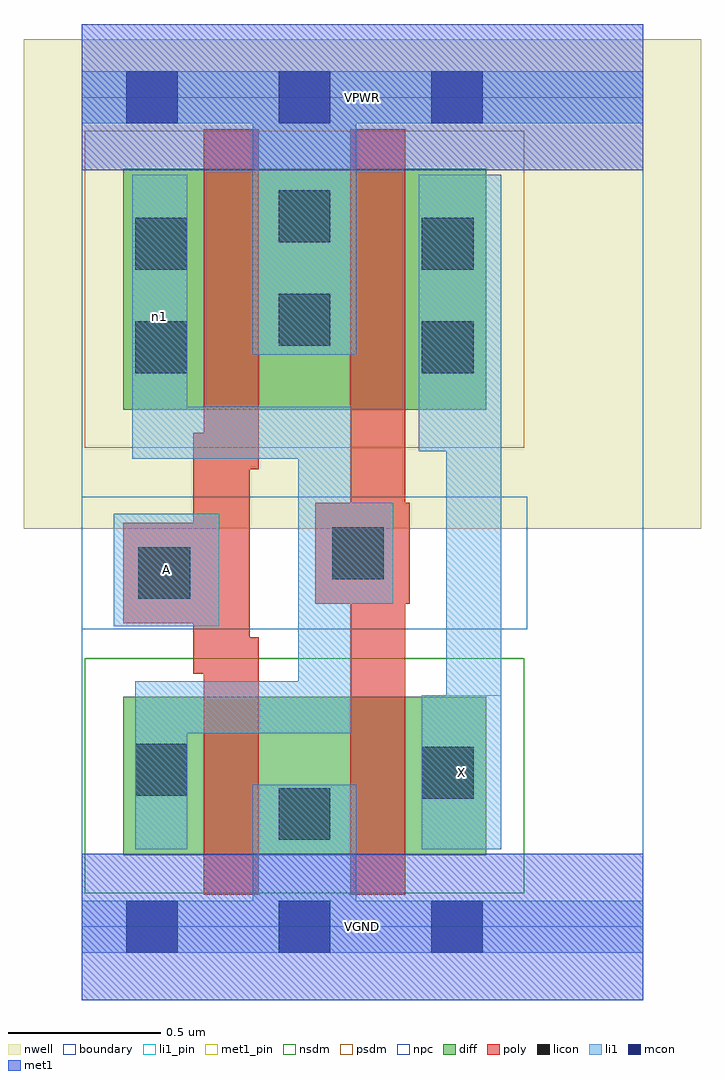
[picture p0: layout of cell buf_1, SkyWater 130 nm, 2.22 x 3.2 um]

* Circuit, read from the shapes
.subckt buf_1 A VGND VPWR X n1
XM1 VGND A n1 VSUBS sky130_fd_pr__nfet_01v8 w=0.52 l=0.18
XM2 X n1 VGND VSUBS sky130_fd_pr__nfet_01v8 w=0.52 l=0.18
XM3 VPWR A n1 n2 sky130_fd_pr__pfet_01v8 w=0.79 l=0.18
XM4 X n1 VPWR n2 sky130_fd_pr__pfet_01v8 w=0.79 l=0.18
.ends

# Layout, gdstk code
import gdstk
lib = gdstk.Library(unit=1e-6, precision=1e-09)
def R(c, l, rs):  # rectangles x0, y0, x1, y1
    for r in rs: c.add(gdstk.rectangle(r[:2], r[2:], *l))
def A(c, l, x, y, w, h, nx, ny, dx, dy):  # array of equal rectangles
    R(c, l, [(x+i*dx, y+j*dy, x+i*dx+w, y+j*dy+h) for i in range(nx) for j in range(ny)])
nwell = (64, 20)
diff = (65, 20)
poly = (66, 20)
licon = (66, 44)
li1_pin = (67, 16)
li1 = (67, 20)
mcon = (67, 44)
met1_pin = (68, 16)
met1 = (68, 20)
nsdm = (93, 44)
psdm = (94, 20)
npc = (95, 20)
boundary = (235, 4)

buf_1 = lib.new_cell('buf_1')
R(buf_1, nwell, [(-0.19,1.305,2.03,2.91), (0,1.305,1.84,2.91)])
R(buf_1, diff, [(0.135,0.235,1.325,0.755), (0.135,1.695,1.325,2.485)])
R(buf_1, poly, [(0.4,0.105,0.55,2.615), (0.4,0.105,0.58,0.95), (0.88,0.105,1.06,2.615), (0.365,0.83,0.55,1.62), (0.135,0.995,0.55,1.325), (0.765,1.06,1.075,1.39), (0.4,1.5,0.58,2.615)])
R(buf_1, licon, [(0.645,0.285,0.815,0.455), (1.115,0.42,1.285,0.59), (0.175,0.43,0.345,0.6), (0.185,1.075,0.355,1.245), (0.82,1.14,0.99,1.31), (0.175,1.815,0.345,1.985), (1.115,1.815,1.285,1.985), (0.645,1.905,0.815,2.075), (0.175,2.155,0.345,2.325), (1.115,2.155,1.285,2.325), (0.645,2.245,0.815,2.415)])
R(buf_1, li1_pin, [(1.115,0.255,1.375,0.76), (0.105,0.985,0.45,1.355)])
R(buf_1, li1, [(0,-0.085,1.84,0.085), (0.56,-0.085,0.9,0.465), (0.175,0.255,0.345,0.805), (1.115,0.255,1.375,0.76), (1.195,0.255,1.375,2.465), (0.175,0.635,0.885,0.805), (0.71,0.635,0.885,1.705), (0.105,0.985,0.45,1.355), (0.71,1.06,1.02,1.39), (0.165,1.535,0.345,2.465), (0.165,1.535,0.885,1.705), (1.105,1.56,1.375,2.465), (0.56,1.875,0.9,2.805), (0,2.635,1.84,2.805)])
A(buf_1, mcon, 0.145, -0.085, 0.17, 0.17, 3, 2, 0.5, 2.72)
R(buf_1, met1_pin, [(0,-0.24,1.84,0.24), (0,2.48,1.84,2.96)])
R(buf_1, met1, [(0,-0.24,1.84,0.24), (0,2.48,1.84,2.96)])
R(buf_1, nsdm, [(0.01,0.11,1.45,0.88)])
R(buf_1, psdm, [(0.01,1.57,1.45,2.61)])
R(buf_1, npc, [(0,0.975,1.46,1.41)])
R(buf_1, boundary, [(0,0,1.84,2.72)])
buf_1.add(gdstk.Label('A', (0.277,1.17), layer=67, texttype=5))
buf_1.add(gdstk.Label('X', (1.245,0.507), layer=67, texttype=5))
buf_1.add(gdstk.Label('n1', (0.255,2), layer=67, texttype=5))
buf_1.add(gdstk.Label('VPWR', (0.92,2.72), layer=68, texttype=5))
buf_1.add(gdstk.Label('VGND', (0.92,0), layer=68, texttype=5))
buf_1.add(gdstk.Label('A', (0.277,1.17), layer=67, texttype=16))
buf_1.add(gdstk.Label('X', (1.245,0.507), layer=67, texttype=16))
buf_1.add(gdstk.Label('VPWR', (0.92,2.72), layer=68, texttype=16))
buf_1.add(gdstk.Label('VGND', (0.92,0), layer=68, texttype=16))

lib.write_gds('buf_1.gds')
